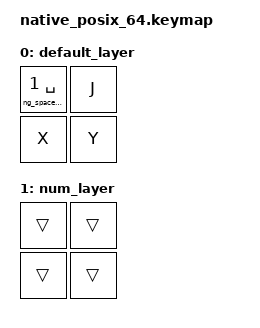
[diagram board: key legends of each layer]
#include <dt-bindings/zmk/keys.h>
#include <dt-bindings/zmk/kscan_mock.h>
#include <behaviors.dtsi>
#include <behaviors/naginata.dtsi>

/ {
    behaviors {
        ng_space_test: ng_space_test {
            compatible = "zmk,behavior-naginata-space";
            #binding-cells = <2>;
            bindings = <&mo>, <&ng>;
            tapping-term-ms = <100>;
            tap-trigger-key-positions = <1>;
        };
    };

    keymap {
        compatible = "zmk,keymap";

        default_layer {
            bindings = <
                &ng_space_test 1 SPACE  &kp J
                &kp X                    &kp Y
            >;
        };

        num_layer {
            bindings = <&trans &trans &trans &trans>;
        };
    };
};

&kscan {
    events = <
        ZMK_MOCK_PRESS(0, 0, 10)
        ZMK_MOCK_PRESS(1, 0, 50)
        ZMK_MOCK_RELEASE(1, 0, 10)
        ZMK_MOCK_RELEASE(0, 0, 10)
        ZMK_MOCK_PRESS(0, 0, 150)
        ZMK_MOCK_RELEASE(0, 0, 10)
    >;
};
